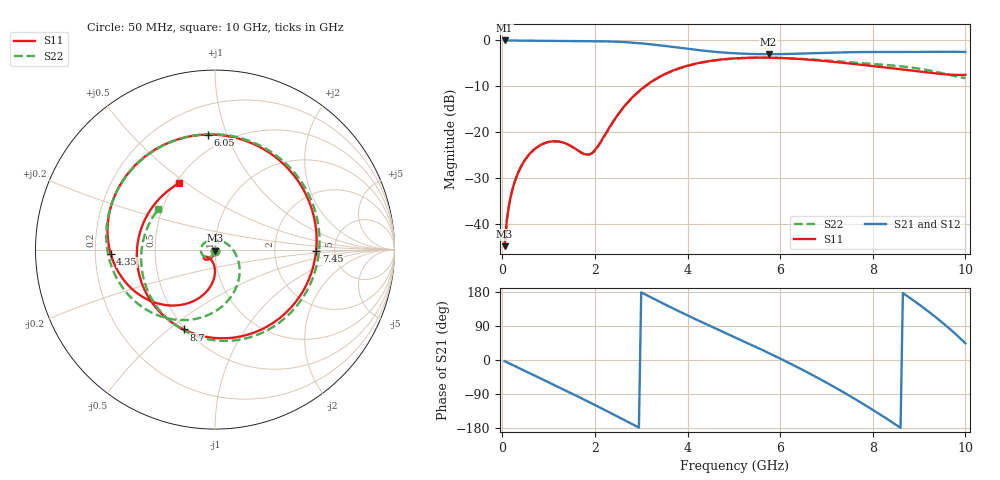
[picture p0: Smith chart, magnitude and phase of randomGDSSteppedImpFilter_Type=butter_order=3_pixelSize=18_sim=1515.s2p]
! freq	dB(S11)	phase(S11)	dB(S12)	phase(S12)
!  dB(S21)	phase(S21)	dB(S22)	phase(S22)
!S-par simulation data
#  GHz  S  DB  R 50
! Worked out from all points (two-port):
!   200 points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, 50 MHz to 10 GHz, reference 50 ohm
!   highest |S21| = -0.01 dB at 50 MHz (marker M1); lowest = -3.0 dB at 5.75 GHz (marker M2)
!   |S21| within 3 dB of the highest: start of sweep to end of sweep
!   lowest |S11| = -44.9 dB at 50 MHz (marker M3), VSWR 1.01, Z = 50 - j0.568 ohm
!   |S11| at or under -10 dB: start of sweep to 3.083 GHz
!   |S22| runs from -44.9 to -3.8 dB; largest |S21 - S12| = 0
!   S11 on the Smith chart (normalised r, x): 50 MHz: 1.00, -0.01; 4.35 GHz: 0.26, -0.02; 6.05 GHz: 0.40, +0.86; 7.45 GHz: 3.58, -0.10; 8.7 GHz: 0.49, -0.56; 10 GHz: 0.52, +0.47
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0.05  -44.91 -90.4  -0.01 -3.0  -0.01 -3.0  -44.91 -91.3
0.1  -39.06 -93.1  -0.01 -6.0  -0.01 -6.0  -39.08 -95.2
0.2  -33.26 -98.8  -0.02 -11.9  -0.02 -11.9  -33.29 -103.2
0.55  -25.26 -116.4  -0.06 -32.5  -0.06 -32.5  -25.28 -129.3
1.2  -22.05 -141.4  -0.11 -70.7  -0.11 -70.7  -22.07 178.9
1.75  -24.70 -133.4  -0.14 -103.5  -0.14 -103.5  -24.76 105.3
2  -23.96 -106.7  -0.16 -118.8  -0.16 -118.8  -24.08 47.8
2.65  -14.19 -95.6  -0.37 -159.4  -0.37 -159.4  -14.27 -45.0
3.4  -7.93 -129.2  -1.07 153.6  -1.07 153.6  -7.99 -105.0
4.35  -4.71 -177.6  -2.24 97.6  -2.24 97.6  -4.76 -167.7
5.05  -3.90 147.1  -2.82 58.4  -2.82 58.4  -3.94 149.7
5.75  -3.76 110.3  -3.00 18.6  -3.00 18.6  -3.77 107.2
6.05  -3.85 93.4  -2.97 0.8  -2.97 0.8  -3.84 88.7
6.7  -4.26 53.3  -2.79 -39.8  -2.79 -39.8  -4.17 47.9
7.45  -4.98 -0.9  -2.59 -91.0  -2.59 -91.0  -4.71 0.9
7.9  -5.48 -38.0  -2.53 -124.0  -2.53 -124.0  -5.06 -27.2
8.35  -6.00 -78.2  -2.52 -158.8  -2.52 -158.8  -5.41 -56.0
8.7  -6.41 -111.3  -2.53 172.5  -2.53 172.5  -5.76 -80.0
9.05  -6.84 -145.9  -2.52 142.0  -2.52 142.0  -6.24 -106.9
9.45  -7.30 173.5  -2.48 104.0  -2.48 104.0  -7.04 -144.1
9.75  -7.51 143.0  -2.47 72.6  -2.47 72.6  -7.75 -179.3
10  -7.52 118.4  -2.52 44.2  -2.52 44.2  -8.23 144.7
